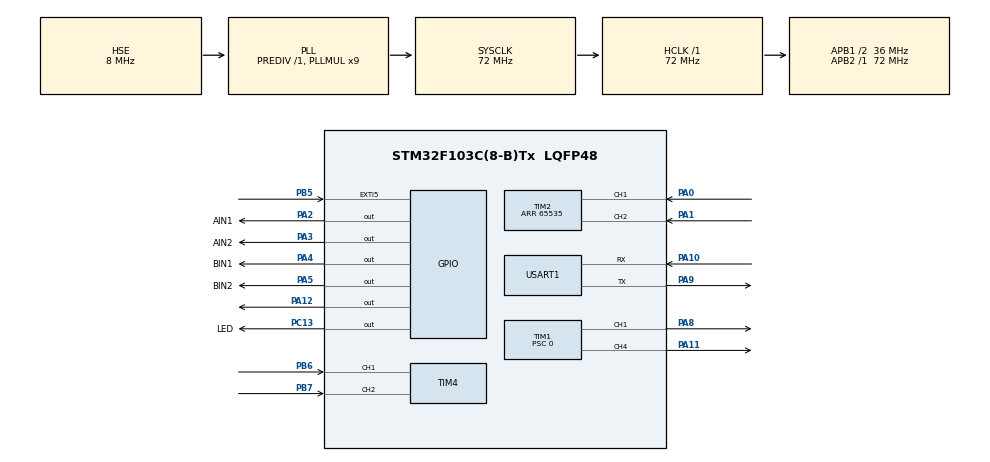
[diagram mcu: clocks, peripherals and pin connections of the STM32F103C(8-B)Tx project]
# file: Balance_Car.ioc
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Mcu.Family=STM32F1
Mcu.Name=STM32F103C(8-B)Tx
Mcu.Package=LQFP48
NVIC.EXTI9_5_IRQn=true\:1\:0\:true\:false\:true\:true\:true
NVIC.PriorityGroup=NVIC_PRIORITYGROUP_4
NVIC.TIM2_IRQn=true\:2\:0\:true\:false\:true\:true\:true
NVIC.TIM4_IRQn=true\:2\:0\:true\:false\:true\:true\:true
NVIC.USART1_IRQn=true\:0\:0\:false\:false\:true\:true\:true
PA0-WKUP.Signal=S_TIM2_CH1_ETR
PA1.Signal=S_TIM2_CH2
PA10.Mode=Asynchronous
PA10.Signal=USART1_RX
PA11.Signal=S_TIM1_CH4
PA12.Signal=GPIO_Output
PA13.Mode=Serial_Wire
PA13.Signal=SYS_JTMS-SWDIO
PA14.Mode=Serial_Wire
PA14.Signal=SYS_JTCK-SWCLK
PA2.GPIO_Label=AIN1
PA2.GPIO_ModeDefaultOutputPP=GPIO_MODE_OUTPUT_PP
PA2.PinState=GPIO_PIN_SET
PA2.Signal=GPIO_Output
PA3.GPIO_Label=AIN2
PA3.Signal=GPIO_Output
PA4.GPIO_Label=BIN1
PA4.PinState=GPIO_PIN_SET
PA4.Signal=GPIO_Output
PA5.GPIO_Label=BIN2
PA5.Signal=GPIO_Output
PA8.Signal=S_TIM1_CH1
PA9.Mode=Asynchronous
PA9.Signal=USART1_TX
PB5.GPIO_ModeDefaultEXTI=GPIO_MODE_IT_FALLING
PB5.GPIO_PuPd=GPIO_PULLUP
PB5.Signal=GPXTI5
PB6.Signal=S_TIM4_CH1
PB7.Signal=S_TIM4_CH2
PC13-TAMPER-RTC.GPIO_Label=LED
PC13-TAMPER-RTC.Signal=GPIO_Output
PD0-OSC_IN.Mode=HSE-External-Oscillator
PD0-OSC_IN.Signal=RCC_OSC_IN
PD1-OSC_OUT.Mode=HSE-External-Oscillator
PD1-OSC_OUT.Signal=RCC_OSC_OUT
ProjectManager.HeapSize=0x200
ProjectManager.StackSize=0x400
ProjectManager.TargetToolchain=MDK-ARM V5.32
RCC.AHBFreq_Value=72000000
RCC.APB1CLKDivider=RCC_HCLK_DIV2
RCC.APB1Freq_Value=36000000
RCC.APB1TimFreq_Value=72000000
RCC.APB2Freq_Value=72000000
RCC.APB2TimFreq_Value=72000000
RCC.HCLKFreq_Value=72000000
RCC.PLLMUL=RCC_PLL_MUL9
RCC.PLLSourceVirtual=RCC_PLLSOURCE_HSE
RCC.SYSCLKFreq_VALUE=72000000
RCC.SYSCLKSource=RCC_SYSCLKSOURCE_PLLCLK
RCC.USBFreq_Value=72000000
SH.S_TIM1_CH1.0=TIM1_CH1,PWM Generation1 CH1
SH.S_TIM1_CH4.0=TIM1_CH4,PWM Generation4 CH4
SH.S_TIM2_CH1_ETR.0=TIM2_CH1,Encoder_Interface
SH.S_TIM2_CH2.0=TIM2_CH2,Encoder_Interface
SH.S_TIM4_CH1.0=TIM4_CH1,Encoder_Interface
SH.S_TIM4_CH2.0=TIM4_CH2,Encoder_Interface
TIM1.AutoReloadPreload=TIM_AUTORELOAD_PRELOAD_ENABLE
TIM1.Channel-PWM\ Generation1\ CH1=TIM_CHANNEL_1
TIM1.Channel-PWM\ Generation4\ CH4=TIM_CHANNEL_4
TIM1.Period=7200
TIM1.Prescaler=0
TIM1.Pulse-PWM\ Generation1\ CH1=0
TIM1.Pulse-PWM\ Generation4\ CH4=0
TIM2.AutoReloadPreload=TIM_AUTORELOAD_PRELOAD_ENABLE
TIM2.EncoderMode=TIM_ENCODERMODE_TI12
TIM2.IC1Filter=10
TIM2.IC2Filter=10
TIM2.Period=65535
TIM4.AutoReloadPreload=TIM_AUTORELOAD_PRELOAD_ENABLE
TIM4.EncoderMode=TIM_ENCODERMODE_TI12
TIM4.IC1Filter=10
TIM4.IC2Filter=10
USART1.VirtualMode=VM_ASYNC
VP_TIM1_VS_ClockSourceINT.Mode=Internal
board=custom

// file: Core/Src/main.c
/* USER CODE BEGIN Header */
/**
  ******************************************************************************
  * @file           : main.c
  * @brief          : Main program body
  ******************************************************************************
  * @attention
  *
  * <h2><center>&copy; Copyright (c) 2021 STMicroelectronics.
  * All rights reserved.</center></h2>
  *
  * This software component is licensed by ST under BSD 3-Clause license,
  * the "License"; You may not use this file except in compliance with the
  * License. You may obtain a copy of the License at:
  *                        opensource.org/licenses/BSD-3-Clause
  *
  ******************************************************************************
  */
/* USER CODE END Header */
#include "main.h"
#include "tim.h"
#include "usart.h"
#include "gpio.h"

/* USER CODE BEGIN Includes */
#include "datascope_dp.h"
/* USER CODE END Includes */

/* USER CODE BEGIN PV */
//////////////////////////全局变量的定义////////////////////////////////////
float pitch,roll,yaw; 								  			 //欧拉角(姿态角)
short aacx,aacy,aacz;													 //加速度传感器原始数据
short gyrox,gyroy,gyroz;											 //陀螺仪原始数据
float temp = 0; 								  								 //温度
int   Encoder_Left,Encoder_Right;         		 //左右编码器的脉冲计数
int 	Moto1=0,Moto2=0;												 //计算出来的最终赋给电机的PWM
int   Balance_Pwm,Velocity_Pwm,Turn_Pwm;
float Mechanical_angle = -4.2;
uint8_t flag = 0;
/****************************上位机变量*********************************/
unsigned char i;          										 //计数变量
unsigned char Send_Count; 										 //串口需要发送的字节数
/**********************************************************************/
uint8_t led_set;
/* USER CODE END PV */

void SystemClock_Config(void);

int main(void)
{

  /* MCU Configuration--------------------------------------------------------*/

  /* Reset of all peripherals, Initializes the Flash interface and the Systick. */
  HAL_Init();

  /* Configure the system clock */
  SystemClock_Config();

  /* Initialize all configured peripherals */
  MX_GPIO_Init();
  MX_USART1_UART_Init();
  MX_TIM1_Init();
  MX_TIM2_Init();
  MX_TIM4_Init();
  /* USER CODE BEGIN 2 */
  delay_init(72);
  HAL_TIM_PWM_Start(&htim1,TIM_CHANNEL_1);
  HAL_TIM_PWM_Start(&htim1,TIM_CHANNEL_4);
  HAL_TIM_Encoder_Start(&htim2,TIM_CHANNEL_1);
  HAL_TIM_Encoder_Start(&htim2,TIM_CHANNEL_2);
  HAL_TIM_Encoder_Start(&htim4,TIM_CHANNEL_1);
  HAL_TIM_Encoder_Start(&htim4,TIM_CHANNEL_2);
  MPU_Init();					    			 //=====初始化MPU6050
	mpu_dmp_init();								 //=====初始化MPU6050的DMP模式
  /* USER CODE END 2 */

  /* Infinite loop */
  /* USER CODE BEGIN WHILE */
  while (1)
  {
    if(flag == 1)
    {
      mpu_dmp_get_data(&pitch,&roll,&yaw);										 //===得到欧拉角（姿态角）的数据
      MPU_Get_Gyroscope(&gyrox,&gyroy,&gyroz);								 //===得到陀螺仪数据
      MPU_Get_Accelerometer(&aacx,&aacy,&aacz);
    	Encoder_Left = -Read_Encoder(2);                           //===读取编码器的值，因为两个电机的旋转了180度的，所以对其中一个取反，保证输出极性一致
      Encoder_Right = Read_Encoder(4);                           //===读取编码器的值
      Balance_Pwm = balance_UP(pitch,Mechanical_angle,gyroy);   //===平衡环PID控制
      Velocity_Pwm = velocity(Encoder_Left,Encoder_Right);       //===速度环PID控制
      if(1==Flag_Left||1==Flag_Right)
      {
        Turn_Pwm = turn(Encoder_Left,Encoder_Right,gyroz);        //===转向环PID控制
      }
      else
      {
        Turn_Pwm=0.5*gyroz;
      }
      Moto1 = Balance_Pwm - Velocity_Pwm - Turn_Pwm;                 //===计算左轮电机最终PWM
      Moto2 = Balance_Pwm - Velocity_Pwm + Turn_Pwm;                 //===计算右轮电机最终PWM
      Xianfu_Pwm();  																					 //===PWM限幅
      Turn_Off(pitch,aacz);																 //===检查角度以及电压是否正常
      Set_Pwm(Moto1,Moto2);                                    //===赋值给PWM寄存器
      flag = 0;

    }
    /* USER CODE END WHILE */

  }
}

void SystemClock_Config(void)
{
  RCC_OscInitTypeDef RCC_OscInitStruct = {0};
  RCC_ClkInitTypeDef RCC_ClkInitStruct = {0};

  /** Initializes the RCC Oscillators according to the specified parameters
  * in the RCC_OscInitTypeDef structure.
  */
  RCC_OscInitStruct.OscillatorType = RCC_OSCILLATORTYPE_HSE;
  RCC_OscInitStruct.HSEState = RCC_HSE_ON;
  RCC_OscInitStruct.HSEPredivValue = RCC_HSE_PREDIV_DIV1;
  RCC_OscInitStruct.HSIState = RCC_HSI_ON;
  RCC_OscInitStruct.PLL.PLLState = RCC_PLL_ON;
  RCC_OscInitStruct.PLL.PLLSource = RCC_PLLSOURCE_HSE;
  RCC_OscInitStruct.PLL.PLLMUL = RCC_PLL_MUL9;
  if (HAL_RCC_OscConfig(&RCC_OscInitStruct) != HAL_OK)
  {
    Error_Handler();
  }
  /** Initializes the CPU, AHB and APB buses clocks
  */
  RCC_ClkInitStruct.ClockType = RCC_CLOCKTYPE_HCLK|RCC_CLOCKTYPE_SYSCLK
                              |RCC_CLOCKTYPE_PCLK1|RCC_CLOCKTYPE_PCLK2;
  RCC_ClkInitStruct.SYSCLKSource = RCC_SYSCLKSOURCE_PLLCLK;
  RCC_ClkInitStruct.AHBCLKDivider = RCC_SYSCLK_DIV1;
  RCC_ClkInitStruct.APB1CLKDivider = RCC_HCLK_DIV2;
  RCC_ClkInitStruct.APB2CLKDivider = RCC_HCLK_DIV1;

  if (HAL_RCC_ClockConfig(&RCC_ClkInitStruct, FLASH_LATENCY_2) != HAL_OK)
  {
    Error_Handler();
  }
}

/* USER CODE BEGIN 4 */
void HAL_GPIO_EXTI_Callback(uint16_t GPIO_Pin)
{
  if(GPIO_Pin == GPIO_PIN_5)
  {
    led_set++;
    if(led_set == 8)
    {
      led_set = 0;
      HAL_GPIO_TogglePin(GPIOC,GPIO_PIN_13);
    }
    flag = 1;
//    mpu_dmp_get_data(&pitch,&roll,&yaw);										 //===得到欧拉角（姿态角）的数据
//		MPU_Get_Gyroscope(&gyrox,&gyroy,&gyroz);								 //===得到陀螺仪数据

//		Balance_Pwm = balance_UP(pitch,Mechanical_angle,gyroy);   //===平衡环PID控制
//		Moto1 = Balance_Pwm;                                      //===计算左轮电机最终PWM
//		Moto2 = Balance_Pwm;                                      //===计算右轮电机最终PWM
//		Set_Pwm(Moto1,Moto2);                                    //===赋值给PWM寄存器
  }
}
/* USER CODE END 4 */

void Error_Handler(void)
{
  __disable_irq();
  while (1)
  {
  }
}

/************************ (C) COPYRIGHT STMicroelectronics *****END OF FILE****/
